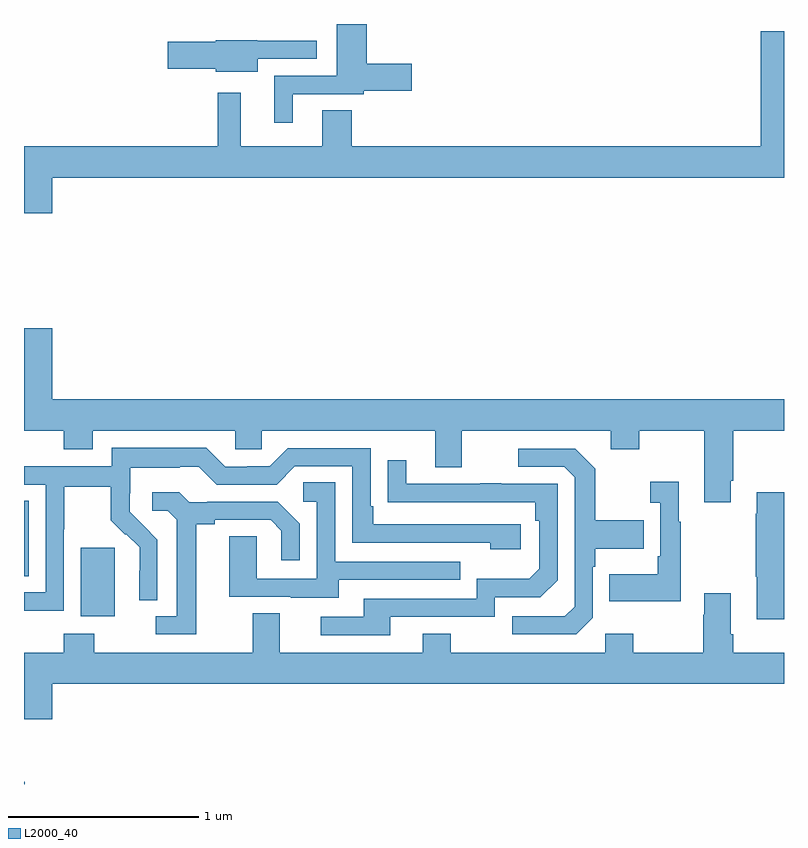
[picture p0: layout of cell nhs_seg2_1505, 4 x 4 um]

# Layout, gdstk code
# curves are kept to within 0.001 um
import gdstk
lib = gdstk.Library(unit=1e-6, precision=1e-09)
def R(c, l, rs):  # rectangles x0, y0, x1, y1
    for r in rs: c.add(gdstk.rectangle(r[:2], r[2:], *l))
def P(c, l, *ps):  # polygons
    for p in ps: c.add(gdstk.Polygon(p, *l))
L2000_40 = (2000, 40)

nhs_seg2_1505 = lib.new_cell('nhs_seg2_1505')
R(nhs_seg2_1505, L2000_40, [(189,621.8,189.004,621.812), (189.299,622.682,189.478,623.043), (189,622.894,189.025,623.291)])
P(nhs_seg2_1505, L2000_40, [(190.414,625.431),(190.788,625.431),(190.788,625.45),(191.041,625.45),(191.041,625.592),(190.805,625.592),(190.805,625.8),(190.646,625.8),(190.646,625.527),(190.316,625.527),(190.316,625.281),(190.414,625.281)],
  [(189.148,624.992),(193,624.992),(193,625.762),(192.878,625.762),(192.878,625.156),(190.724,625.156),(190.724,625.346),(190.571,625.346),(190.571,625.156),(190.141,625.156),(190.141,625.438),(190.02,625.438),(190.02,625.156),(189,625.156),(189,624.804),(189.148,624.804)],
  [(190.231,625.617),(190.54,625.617),(190.54,625.713),(190.227,625.713),(190.227,625.714),(190.008,625.714),(190.008,625.706),(189.756,625.706),(189.756,625.564),(190.008,625.564),(190.008,625.55),(190.231,625.55)],
  [(189.148,624.199),(189,624.199),(189,623.66),(189.209,623.66),(189.209,623.561),(189.361,623.561),(189.361,623.66),(190.113,623.66),(190.113,623.562),(190.251,623.562),(190.251,623.66),(191.165,623.66),(191.165,623.466),(191.305,623.466),(191.305,623.66),(192.089,623.66),(192.089,623.561),(192.237,623.561),(192.237,623.66),(192.581,623.66),(192.581,623.283),(192.721,623.283),(192.721,623.395),(192.734,623.395),(192.734,623.66),(193,623.66),(193,623.824),(189.148,623.824)],
  [(189.21,623.14),(189.213,623.14),(189.213,623.364),(189.457,623.364),(189.457,623.189),(189.534,623.112),(189.537,623.115),(189.608,623.045),(189.608,622.922),(189.606,622.922),(189.606,622.768),(189.702,622.768),(189.702,623.086),(189.556,623.234),(189.556,623.331),(189.558,623.331),(189.558,623.465),(189.821,623.465),(189.821,623.469),(189.921,623.469),(190.014,623.376),(190.329,623.376),(190.425,623.472),(190.728,623.472),(190.728,623.07),(191.453,623.07),(191.453,623.036),(191.614,623.036),(191.614,623.166),(190.837,623.166),(190.837,623.263),(190.824,623.263),(190.824,623.568),(190.389,623.568),(190.293,623.472),(190.175,623.472),(190.175,623.469),(190.059,623.469),(189.959,623.569),(189.462,623.569),(189.462,623.472),(189,623.472),(189,623.376),(189.114,623.376),(189.114,622.809),(189,622.809),(189,622.711),(189.21,622.711)],
  [(191.994,622.674),(191.994,622.943),(192.007,622.943),(192.007,623.039),(192.263,623.039),(192.263,623.187),(192.007,623.187),(192.007,623.459),(191.901,623.565),(191.601,623.565),(191.601,623.469),(191.844,623.469),(191.898,623.415),(191.898,622.734),(191.847,622.683),(191.571,622.683),(191.571,622.587),(191.907,622.587)],
  [(190.927,622.68),(191.478,622.68),(191.478,622.782),(191.718,622.782),(191.808,622.872),(191.808,623.379),(191.513,623.379),(191.513,623.384),(191.401,623.384),(191.401,623.379),(191.011,623.379),(191.011,623.503),(190.915,623.503),(190.915,623.284),(191.692,623.283),(191.692,623.186),(191.712,623.186),(191.712,622.932),(191.659,622.879),(191.382,622.879),(191.382,622.776),(190.787,622.776),(190.787,622.68),(190.563,622.68),(190.563,622.584),(190.927,622.584)],
  [(192.457,623.179),(192.445,623.179),(192.445,623.392),(192.297,623.392),(192.297,623.279),(192.348,623.279),(192.348,622.999),(192.336,622.999),(192.336,622.903),(192.079,622.903),(192.079,622.763),(192.457,622.763)],
  [(190.657,622.875),(191.297,622.875),(191.297,622.971),(190.638,622.971),(190.638,623.387),(190.47,623.387),(190.47,623.286),(190.542,623.286),(190.542,622.881),(190.224,622.881),(190.224,623.105),(190.079,623.105),(190.079,622.785),(190.403,622.785),(190.403,622.781),(190.657,622.781)],
  [(189.907,623.168),(190.003,623.168),(190.003,623.19),(190.298,623.19),(190.355,623.133),(190.355,622.977),(190.452,622.977),(190.452,623.17),(190.336,623.286),(189.964,623.286),(189.964,623.283),(189.87,623.283),(189.818,623.335),(189.675,623.335),(189.675,623.238),(189.756,623.238),(189.803,623.191),(189.803,622.683),(189.693,622.683),(189.693,622.587),(189.907,622.587)],
  [(193,623.335),(192.857,623.335),(192.857,623.222),(192.85,623.222),(192.85,622.891),(192.857,622.891),(192.857,622.668),(193,622.668)],
  [(189.148,622.328),(193,622.328),(193,622.492),(192.734,622.492),(192.734,622.588),(192.721,622.588),(192.721,622.804),(192.581,622.804),(192.581,622.691),(192.574,622.691),(192.574,622.492),(192.207,622.492),(192.207,622.591),(192.06,622.591),(192.06,622.492),(191.247,622.492),(191.247,622.591),(191.099,622.591),(191.099,622.492),(190.345,622.492),(190.345,622.7),(190.205,622.7),(190.205,622.492),(189.369,622.492),(189.369,622.591),(189.209,622.591),(189.209,622.492),(189,622.492),(189,622.14),(189.148,622.14)])

lib.write_gds('nhs_seg2_1505.gds')
